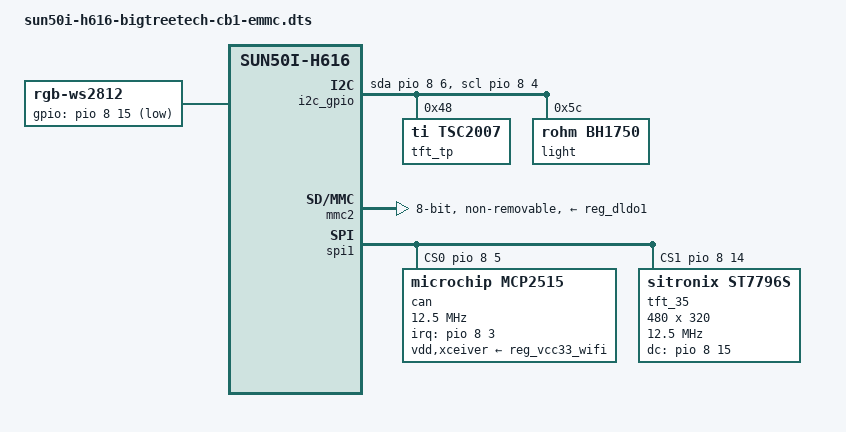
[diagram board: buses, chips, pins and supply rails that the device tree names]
// SPDX-License-Identifier: (GPL-2.0+ or MIT)
/*
 * Copyright (C) 2023 Alan.Ma <tech@biqu3d.com>.
 */

/dts-v1/;

#include "sun50i-h616-bigtreetech-cb1.dts"

/ {
	ws2812: ws2812 {
		compatible = "rgb-ws2812";
		pinctrl-names = "default";
		rgb_cnt = <2>;
		rgb_value = <0x010000 0x010000>;
		gpios = <&pio 8 15 GPIO_ACTIVE_LOW>;
		status = "okay";
	};

	mcp2515_clock: mcp2515_clock {
		compatible = "fixed-clock";
		#clock-cells = <0>;
		clock-frequency  = <12000000>;
	};

	i2c_gpio: i2c-gpio {
		#address-cells = <1>;
		#size-cells = <0>;
		compatible = "i2c-gpio";
		status = "okay";

		gpios = <&pio 8 6 GPIO_ACTIVE_HIGH>, /* SDA  PI6 */
				<&pio 8 4 GPIO_ACTIVE_HIGH>; /* SCL  PI4 */
		
		i2c-gpio,delay-us = <3>; /* 100 kHz */
		
		tft_tp: ns2009@48 {
			compatible = "ti,tsc2007";
			reg = <0x48>;
			status = "okay";
			ti,x-plate-ohms = <660>;
			ti,rt-thr = <3000>;
			ti,fuzzx = <32>;
			ti,fuzzy = <16>;
			i2c,ignore-nak = <1>;
		};

		light: bh1750@5c {
			compatible = "rohm,bh1750";
			reg = <0x5c>;
			status = "okay";
		};
	};
};

&mmc2 {
	vmmc-supply = <&reg_dldo1>;

	no-1-8-v;
	bus-width = <8>;
	non-removable;
	status = "okay";
};

&pio {
	can0_pin_irq: can0_pin_irq {
		pins = "PI3";
		function = "irq";
		bias-pull-up;
	};
};

&spi1 {
	#address-cells = <1>;
	#size-cells = <0>;
	status = "okay";
	pinctrl-names = "default";
	pinctrl-0 = <&spi1_pins>;
	cs-gpios = <&pio 8 5 GPIO_ACTIVE_HIGH>,		/* PI5 */
				<&pio 8 14 GPIO_ACTIVE_HIGH>,	/* PI14 */
				<&pio 8 7 GPIO_ACTIVE_HIGH>;	/* PI7 */

	can: mcp2515@0 {
		status = "okay";
		compatible = "microchip,mcp2515";
		reg = <0x0>;
		clocks = <&mcp2515_clock>;
		spi-max-frequency = <12500000>;
		pinctrl-names = "default";
		pinctrl-0 = <&can0_pin_irq>;
		interrupt-parent = <&pio>;
		interrupts = <8 3 0x08>; /* PI3 IRQ_TYPE_LEVEL_LOW */
		vdd-supply = <&reg_vcc33_wifi>;
		xceiver-supply = <&reg_vcc33_wifi>;
	};

	tft_35: st7789v@1 {
		status = "okay";
		compatible = "sitronix,st7796s";
		reg = <1>;
		spi-max-frequency =<12500000>;
		dc-gpios  = <&pio 8 15 GPIO_ACTIVE_HIGH>; /* PI15 */
		fps =<60>;
		buswidth = <8>;
		rotate =<0>;
		width = <480>;
		height = <320>;
		bpp = <24>;
		bgr;
		regwidth = <8>;
		debug = <0x00>;	 //0x20 show fps
		txbuflen = <307200>;
		spi-cpol;
		spi-cpha;
	};
};
